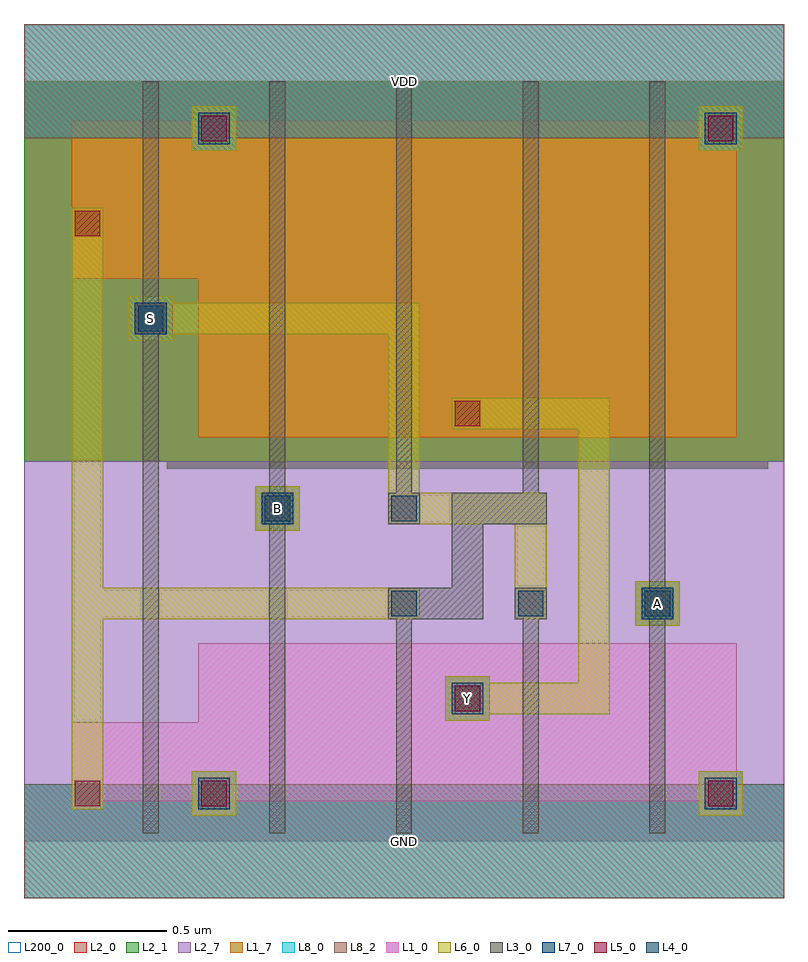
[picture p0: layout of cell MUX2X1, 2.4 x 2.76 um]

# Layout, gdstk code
import gdstk
lib = gdstk.Library(unit=1e-6, precision=1e-09)
def R(c, l, rs):  # rectangles x0, y0, x1, y1
    for r in rs: c.add(gdstk.rectangle(r[:2], r[2:], *l))
def A(c, l, x, y, w, h, nx, ny, dx, dy):  # array of equal rectangles
    R(c, l, [(x+i*dx, y+j*dy, x+i*dx+w, y+j*dy+h) for i in range(nx) for j in range(ny)])
def P(c, l, *ps):  # polygons
    for p in ps: c.add(gdstk.Polygon(p, *l))
L1_0 = (1, 0)
L1_7 = (1, 7)
L2_0 = (2, 0)
L2_1 = (2, 1)
L2_7 = (2, 7)
L3_0 = (3, 0)
L4_0 = (4, 0)
L5_0 = (5, 0)
L6_0 = (6, 0)
L7_0 = (7, 0)
L8_0 = (8, 0)
L8_2 = (8, 2)
L200_0 = (200, 0)

mux2x1 = lib.new_cell('MUX2X1')
P(mux2x1, L1_0, [(0.15,0.1),(0.15,0.375),(0.55,0.375),(0.55,0.625),(2.25,0.625),(2.25,0.1),(2.15,0.1),(2.15,0.125),(0.65,0.125),(0.65,0.1),(0.55,0.1),(0.55,0.125),(0.25,0.125),(0.25,0.1)])
P(mux2x1, L1_7, [(0.55,1.275),(0.55,1.775),(0.15,1.775),(0.15,2.275),(0.55,2.275),(0.55,2.3),(0.65,2.3),(0.65,2.275),(2.15,2.275),(2.15,2.3),(2.25,2.3),(2.25,1.275)])
P(mux2x1, L2_0, [(0.45,1.175),(0.45,1.2),(0,1.2),(0,2.4),(2.4,2.4),(2.4,1.2),(2.35,1.2),(2.35,1.175)])
P(mux2x1, L2_1, [(0.45,1.175),(0.45,1.2),(0,1.2),(0,2.4),(2.4,2.4),(2.4,1.2),(2.35,1.2),(2.35,1.175)])
R(mux2x1, L2_7, [(0,0,2.4,1.2)])
P(mux2x1, L3_0, [(1.575,0.025),(1.575,0.7),(1.55,0.7),(1.55,0.8),(1.65,0.8),(1.65,0.7),(1.625,0.7),(1.625,0.025)],
  [(0.375,0.025),(0.375,1.6),(0.35,1.6),(0.35,1.7),(0.375,1.7),(0.375,2.4),(0.425,2.4),(0.425,1.7),(0.45,1.7),(0.45,1.6),(0.425,1.6),(0.425,0.025)],
  [(0.775,0.025),(0.775,1),(0.75,1),(0.75,1.1),(0.775,1.1),(0.775,2.4),(0.825,2.4),(0.825,1.1),(0.85,1.1),(0.85,1),(0.825,1),(0.825,0.025)],
  [(1.15,1),(1.15,1.1),(1.175,1.1),(1.175,2.4),(1.225,2.4),(1.225,1.1),(1.25,1.1),(1.25,1)],
  [(1.175,0.025),(1.175,0.7),(1.15,0.7),(1.15,0.8),(1.35,0.8),(1.35,1.1),(1.575,1.1),(1.575,2.4),(1.625,2.4),(1.625,1.1),(1.65,1.1),(1.65,1),(1.45,1),(1.45,0.7),(1.225,0.7),(1.225,0.025)],
  [(1.975,0.025),(1.975,0.7),(1.95,0.7),(1.95,0.8),(1.975,0.8),(1.975,2.4),(2.025,2.4),(2.025,0.8),(2.05,0.8),(2.05,0.7),(2.025,0.7),(2.025,0.025)])
A(mux2x1, L4_0, 1.16, 0.71, 0.08, 0.08, 3, 1, 0.4, 0)
R(mux2x1, L4_0, [(0.76,1.01,0.84,1.09), (1.16,1.01,1.24,1.09), (0.36,1.61,0.44,1.69)])
R(mux2x1, L5_0, [(0.16,0.11,0.24,0.19), (0.56,0.11,0.64,0.19), (2.16,0.11,2.24,0.19), (1.36,0.41,1.44,0.49), (1.36,1.31,1.44,1.39), (0.16,1.91,0.24,1.99), (0.56,2.21,0.64,2.29), (2.16,2.21,2.24,2.29)])
R(mux2x1, L6_0, [(0.53,0.08,0.67,0.22), (2.13,0.08,2.27,0.22), (1.93,0.68,2.07,0.82), (0.73,0.98,0.87,1.12), (0.53,2.18,0.67,2.32), (2.13,2.18,2.27,2.32)])
P(mux2x1, L6_0, [(1.33,0.38),(1.33,0.52),(1.47,0.52),(1.47,0.5),(1.75,0.5),(1.75,1.3),(1.35,1.3),(1.35,1.4),(1.85,1.4),(1.85,0.4),(1.47,0.4),(1.47,0.38)],
  [(1.55,0.7),(1.55,1),(1.15,1),(1.15,1.6),(0.47,1.6),(0.47,1.58),(0.33,1.58),(0.33,1.72),(0.47,1.72),(0.47,1.7),(1.25,1.7),(1.25,1.1),(1.65,1.1),(1.65,0.7)],
  [(0.15,0.1),(0.15,2),(0.25,2),(0.25,0.8),(1.25,0.8),(1.25,0.7),(0.25,0.7),(0.25,0.1)])
R(mux2x1, L7_0, [(0.55,0.1,0.65,0.2), (2.15,0.1,2.25,0.2), (1.35,0.4,1.45,0.5), (1.95,0.7,2.05,0.8), (0.75,1,0.85,1.1), (0.35,1.6,0.45,1.7), (0.55,2.2,0.65,2.3), (2.15,2.2,2.25,2.3)])
R(mux2x1, L8_0, [(1.33,0.38,1.47,0.52), (1.93,0.68,2.07,0.82), (0.73,0.98,0.87,1.12), (0.33,1.58,0.47,1.72)])
P(mux2x1, L8_0, [(0,-0.18),(0,0.18),(0.53,0.18),(0.53,0.22),(0.67,0.22),(0.67,0.18),(2.13,0.18),(2.13,0.22),(2.27,0.22),(2.27,0.18),(2.4,0.18),(2.4,-0.18)],
  [(0.53,2.18),(0.53,2.22),(0,2.22),(0,2.58),(2.4,2.58),(2.4,2.22),(2.27,2.22),(2.27,2.18),(2.13,2.18),(2.13,2.22),(0.67,2.22),(0.67,2.18)])
R(mux2x1, L8_2, [(1.33,0.38,1.47,0.52), (1.93,0.68,2.07,0.82), (0.73,0.98,0.87,1.12), (0.33,1.58,0.47,1.72)])
R(mux2x1, L200_0, [(0,0,2.4,2.4)])
mux2x1.add(gdstk.FlexPath([(0,2.4),(2.4,2.4)], 0.36, ends="flush", simple_path=True, layer=8, datatype=2))  # L8_2
mux2x1.add(gdstk.FlexPath([(0,0),(2.4,0)], 0.36, ends="flush", simple_path=True, layer=8, datatype=2))  # L8_2
mux2x1.add(gdstk.Label('S', (0.4,1.65), layer=8, texttype=1))
mux2x1.add(gdstk.Label('B', (0.8,1.05), layer=8, texttype=1))
mux2x1.add(gdstk.Label('A', (2,0.75), layer=8, texttype=1))
mux2x1.add(gdstk.Label('Y', (1.4,0.45), layer=8, texttype=1))
mux2x1.add(gdstk.Label('GND', (1.2,0), layer=8, texttype=1))
mux2x1.add(gdstk.Label('VDD', (1.2,2.4), layer=8, texttype=1))

lib.write_gds('MUX2X1.gds')
